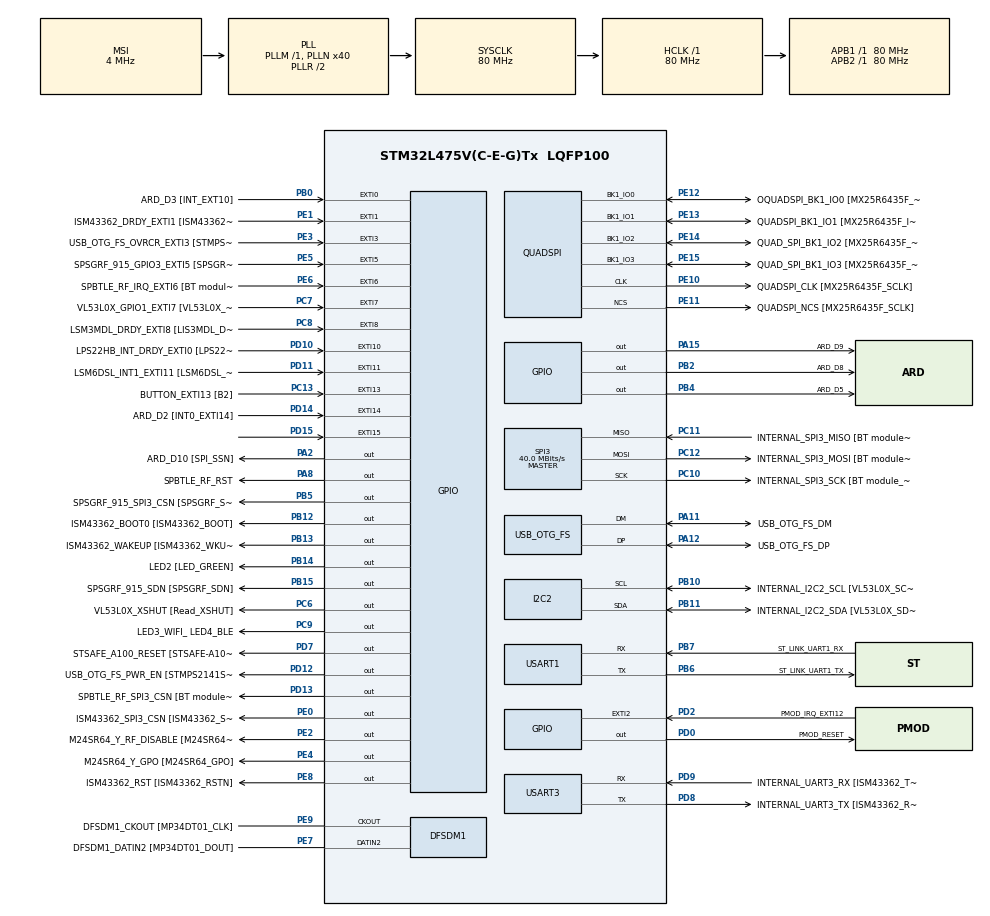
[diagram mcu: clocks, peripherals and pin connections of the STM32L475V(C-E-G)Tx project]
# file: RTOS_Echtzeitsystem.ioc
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I2C2.Timing=0x10D19CE4
Mcu.Family=STM32L4
Mcu.Name=STM32L475V(C-E-G)Tx
Mcu.Package=LQFP100
NVIC.EXTI15_10_IRQn=true\:6\:0\:true\:false\:true\:true\:true\:true
NVIC.I2C2_ER_IRQn=true\:6\:0\:true\:false\:true\:true\:true\:true
NVIC.I2C2_EV_IRQn=true\:6\:0\:true\:false\:true\:true\:true\:true
NVIC.PriorityGroup=NVIC_PRIORITYGROUP_4
NVIC.USART1_IRQn=true\:6\:0\:true\:false\:true\:true\:true\:true
PA0.GPIO_Label=ARD_D1 [UART4_TX]
PA0.Signal=UART4_TX
PA1.GPIO_Label=ARD_D0 [UART4_RX]
PA1.Signal=UART4_RX
PA10.GPIO_Label=USB_OTG_FS_ID
PA10.Signal=USB_OTG_FS_ID
PA11.GPIO_Label=USB_OTG_FS_DM
PA11.Mode=Device_Only
PA11.Signal=USB_OTG_FS_DM
PA12.GPIO_Label=USB_OTG_FS_DP
PA12.Mode=Device_Only
PA12.Signal=USB_OTG_FS_DP
PA13\ (JTMS-SWDIO).GPIO_Label=SYS_JTMS_SWDIO
PA13\ (JTMS-SWDIO).Mode=Serial_Wire
PA13\ (JTMS-SWDIO).Signal=SYS_JTMS-SWDIO
PA14\ (JTCK-SWCLK).GPIO_Label=SYS_JTCK_SWCLK
PA14\ (JTCK-SWCLK).Mode=Serial_Wire
PA14\ (JTCK-SWCLK).Signal=SYS_JTCK-SWCLK
PA15\ (JTDI).GPIO_Label=ARD_D9
PA15\ (JTDI).Signal=GPIO_Output
PA2.GPIO_Label=ARD_D10 [SPI_SSN]
PA2.Signal=GPIO_Output
PA3.GPIO_Label=ARD_D4
PA3.Signal=S_TIM2_CH4
PA4.GPIO_Label=ARD_D7
PA4.Signal=ADCx_IN9
PA5.GPIO_Label=ARD_D13 [SPI1_SCK]
PA5.Signal=SPI1_SCK
PA6.GPIO_Label=ARD_D12 [SPI1_MISO]
PA6.Signal=SPI1_MISO
PA7.GPIO_Label=ARD_D11 [SPI1_MOSI]
PA7.Signal=SPI1_MOSI
PA8.GPIO_Label=SPBTLE_RF_RST
PA8.Signal=GPIO_Output
PA9.GPIO_Label=USB_OTG_FS_VBUS [STMPS2141STR_OUT]
PA9.Signal=USB_OTG_FS_VBUS
PB0.GPIO_Label=ARD_D3 [INT_EXT10]
PB0.Signal=GPXTI0
PB1.GPIO_Label=ARD_D6 [ADC1_IN6]
PB1.Signal=ADCx_IN16
PB10.GPIO_Label=INTERNAL_I2C2_SCL [VL53L0X_SCL]
PB10.GPIO_Pu=GPIO_PULLUP
PB10.Mode=I2C
PB10.Signal=I2C2_SCL
PB11.GPIO_Label=INTERNAL_I2C2_SDA [VL53L0X_SDA]
PB11.GPIO_Pu=GPIO_PULLUP
PB11.Mode=I2C
PB11.Signal=I2C2_SDA
PB12.GPIO_Label=ISM43362_BOOT0 [ISM43362_BOOT]
PB12.Signal=GPIO_Output
PB13.GPIO_Label=ISM43362_WAKEUP [ISM43362_WKUP]
PB13.Signal=GPIO_Output
PB14.GPIO_Label=LED2 [LED_GREEN]
PB14.Signal=GPIO_Output
PB15.GPIO_Label=SPSGRF_915_SDN [SPSGRF_SDN]
PB15.Signal=GPIO_Output
PB2.GPIO_Label=ARD_D8
PB2.Signal=GPIO_Output
PB3\ (JTDO-TRACESWO).GPIO_Label=SYS_JTD0_SWO
PB3\ (JTDO-TRACESWO).Signal=SYS_JTDO-SWO
PB4\ (NJTRST).GPIO_Label=ARD_D5
PB4\ (NJTRST).Signal=GPIO_Output
PB5.GPIO_Label=SPSGRF_915_SPI3_CSN [SPSGRF_SPI_CS]
PB5.PinState=GPIO_PIN_SET
PB5.Signal=GPIO_Output
PB6.GPIO_Label=ST_LINK_UART1_TX
PB6.Mode=Asynchronous
PB6.Signal=USART1_TX
PB7.GPIO_Label=ST_LINK_UART1_RX
PB7.Mode=Asynchronous
PB7.Signal=USART1_RX
PB8.GPIO_Label=ARD_D15 [I2C1_SCL]
PB8.Signal=I2C1_SCL
PB9.GPIO_Label=ARD_D14 [I2C1_SDA]
PB9.Signal=I2C1_SDA
PC0.GPIO_Label=ARD_A5 [ADC]
PC0.Signal=ADCx_IN1
PC1.GPIO_Label=ARD_A4 [ADC]
PC1.Signal=ADCx_IN2
PC10.GPIO_Label=INTERNAL_SPI3_SCK [BT module_SPI_SCLK] [ISM43362_SCK]
PC10.Mode=Full_Duplex_Master
PC10.Signal=SPI3_SCK
PC11.GPIO_Label=INTERNAL_SPI3_MISO [BT module_SPI_MISO] [ISM43362_MISO]
PC11.Mode=Full_Duplex_Master
PC11.Signal=SPI3_MISO
PC12.GPIO_Label=INTERNAL_SPI3_MOSI [BT module_SPI_MOSI] [ISM43362_MOSI]
PC12.Mode=Full_Duplex_Master
PC12.Signal=SPI3_MOSI
PC13.GPIO_Label=BUTTON_EXTI13 [B2]
PC13.GPIO_ModeDefaultEXTI=GPIO_MODE_IT_FALLING
PC13.Signal=GPXTI13
PC14-OSC32_IN\ (PC14).Mode=LSE-External-Oscillator
PC14-OSC32_IN\ (PC14).Signal=RCC_OSC32_IN
PC15-OSC32_OUT\ (PC15).Mode=LSE-External-Oscillator
PC15-OSC32_OUT\ (PC15).Signal=RCC_OSC32_OUT
PC2.GPIO_Label=ARD_A3 [ADC]
PC2.Signal=ADCx_IN3
PC3.GPIO_Label=ARD_A2 [ADC]
PC3.Signal=ADCx_IN4
PC4.GPIO_Label=ARD_A1 [ADC]
PC4.Signal=ADCx_IN13
PC5.GPIO_Label=ARD_A0 [ADC]
PC5.Signal=ADCx_IN14
PC6.GPIO_Label=VL53L0X_XSHUT [Read_XSHUT]
PC6.Signal=GPIO_Output
PC7.GPIO_Label=VL53L0X_GPIO1_EXTI7 [VL53L0X_GPIO1]
PC7.Signal=GPXTI7
PC8.GPIO_Label=LSM3MDL_DRDY_EXTI8 [LIS3MDL_DRDY]
PC8.Signal=GPXTI8
PC9.GPIO_Label=LED3_WIFI_ LED4_BLE
PC9.Signal=GPIO_Output
PD0.GPIO_Label=PMOD_RESET
PD0.Signal=GPIO_Output
PD1.GPIO_Label=PMOD_SPI2_SCK
PD1.Signal=SPI2_SCK
PD10.GPIO_Label=LPS22HB_INT_DRDY_EXTI0 [LPS22HB_INT_DRDY] 
PD10.Signal=GPXTI10
PD11.GPIO_Label=LSM6DSL_INT1_EXTI11 [LSM6DSL_INT1]
PD11.Signal=GPXTI11
PD12.GPIO_Label=USB_OTG_FS_PWR_EN [STMPS2141STR_EN]
PD12.Signal=GPIO_Output
PD13.GPIO_Label=SPBTLE_RF_SPI3_CSN [BT module_SPI_CS]
PD13.PinState=GPIO_PIN_SET
PD13.Signal=GPIO_Output
PD14.GPIO_Label=ARD_D2 [INT0_EXTI14]
PD14.Signal=GPXTI14
PD15.Signal=GPXTI15
PD2.GPIO_Label=PMOD_IRQ_EXTI12
PD2.Signal=GPXTI2
PD3.GPIO_Label=PMOD_UART2_CTS
PD3.Signal=USART2_CTS
PD4.GPIO_Label=PMOD_UART2_RTS
PD4.Signal=USART2_RTS
PD5.GPIO_Label=PMOD_UART2_TX
PD5.Signal=USART2_TX
PD6.GPIO_Label=PMOD_UART2_RX
PD6.Signal=USART2_RX
PD7.GPIO_Label=STSAFE_A100_RESET [STSAFE-A100_RESET]
PD7.Signal=GPIO_Output
PD8.GPIO_Label=INTERNAL_UART3_TX [ISM43362_RX]
PD8.Mode=Asynchronous
PD8.Signal=USART3_TX
PD9.GPIO_Label=INTERNAL_UART3_RX [ISM43362_TX]
PD9.Mode=Asynchronous
PD9.Signal=USART3_RX
PE0.GPIO_Label=ISM43362_SPI3_CSN [ISM43362_SSN]
PE0.PinState=GPIO_PIN_SET
PE0.Signal=GPIO_Output
PE1.GPIO_Label=ISM43362_DRDY_EXTI1 [ISM43362_DATARDY]
PE1.Signal=GPXTI1
PE10.GPIO_Label=QUADSPI_CLK [MX25R6435F_SCLK]
PE10.Mode=Single Bank
PE10.Signal=QUADSPI_CLK
PE11.GPIO_Label=QUADSPI_NCS [MX25R6435F_SCLK]
PE11.Mode=Single Bank
PE11.Signal=QUADSPI_NCS
PE12.GPIO_Label=OQUADSPI_BK1_IO0 [MX25R6435F_IO0]
PE12.Mode=Single Bank
PE12.Signal=QUADSPI_BK1_IO0
PE13.GPIO_Label=QUADSPI_BK1_IO1 [MX25R6435F_IO1]
PE13.Mode=Single Bank
PE13.Signal=QUADSPI_BK1_IO1
PE14.GPIO_Label=QUAD_SPI_BK1_IO2 [MX25R6435F_IO2]
PE14.Mode=Single Bank
PE14.Signal=QUADSPI_BK1_IO2
PE15.GPIO_Label=QUAD_SPI_BK1_IO3 [MX25R6435F_IO3]
PE15.Mode=Single Bank
PE15.Signal=QUADSPI_BK1_IO3
PE2.GPIO_Label=M24SR64_Y_RF_DISABLE [M24SR64_RFDIS]
PE2.Signal=GPIO_Output
PE3.GPIO_Label=USB_OTG_FS_OVRCR_EXTI3 [STMPS2141STR_FAULT]
PE3.Signal=GPXTI3
PE4.GPIO_Label=M24SR64_Y_GPO [M24SR64_GPO]
PE4.Signal=GPIO_Output
PE5.GPIO_Label=SPSGRF_915_GPIO3_EXTI5 [SPSGRF_GPIO_3]
PE5.Signal=GPXTI5
PE6.GPIO_Label=SPBTLE_RF_IRQ_EXTI6 [BT module_SPI_IRQ]
PE6.Signal=GPXTI6
PE7.GPIO_Label=DFSDM1_DATIN2 [MP34DT01_DOUT]
PE7.Signal=S_DATAIN2DFSDM1
PE8.GPIO_Label=ISM43362_RST [ISM43362_RSTN]
PE8.Signal=GPIO_Output
PE9.GPIO_Label=DFSDM1_CKOUT [MP34DT01_CLK]
PE9.Signal=S_CKOUTDFSDM1
ProjectManager.HeapSize=0x200
ProjectManager.StackSize=0x400
ProjectManager.TargetToolchain=STM32CubeIDE
QUADSPI.ClockPrescaler=2
QUADSPI.FifoThreshold=4
QUADSPI.FlashSize=23
QUADSPI.SampleShifting=QSPI_SAMPLE_SHIFTING_HALFCYCLE
RCC.ADCFreq_Value=48000000
RCC.AHBFreq_Value=80000000
RCC.APB1Freq_Value=80000000
RCC.APB1TimFreq_Value=80000000
RCC.APB2Freq_Value=80000000
RCC.APB2TimFreq_Value=80000000
RCC.CortexFreq_Value=80000000
RCC.HCLKFreq_Value=80000000
RCC.HSE_VALUE=8000000
RCC.HSI_VALUE=16000000
RCC.MSI_VALUE=4000000
RCC.PLLN=40
RCC.PLLSAI1N=24
RCC.SYSCLKFreq_VALUE=80000000
RCC.SYSCLKSource=RCC_SYSCLKSOURCE_PLLCLK
RCC.USBFreq_Value=48000000
RCC.VCOOutputFreq_Value=160000000
SH.ADCx_IN1.0=ADC1_IN1
SH.ADCx_IN13.0=ADC1_IN13
SH.ADCx_IN14.0=ADC1_IN14
SH.ADCx_IN16.0=ADC1_IN16
SH.ADCx_IN2.0=ADC1_IN2
SH.ADCx_IN3.0=ADC1_IN3
SH.ADCx_IN4.0=ADC1_IN4
SH.ADCx_IN9.0=ADC1_IN9
SH.S_CKOUTDFSDM1.0=DFSDM1_CKOUT,CKOUT
SH.S_CKOUTDFSDM1.1=DFSDM1_CKOUT,PDM_SPI_Input_from_ch12_and_Internal_Clock
SH.S_DATAIN2DFSDM1.0=DFSDM1_DATIN2,PDM_SPI_Input_from_ch12_and_Internal_Clock
SH.S_TIM2_CH4.0=TIM2_CH4
SPI3.CalculateBaudRate=40.0 MBits/s
SPI3.Direction=SPI_DIRECTION_2LINES
SPI3.Mode=SPI_MODE_MASTER
SPI3.VirtualType=VM_MASTER
USART1.VirtualMode-Asynchronous=VM_ASYNC
USART3.VirtualMode-Asynchronous=VM_ASYNC
USB_OTG_FS.VirtualMode=Device_Only
board=B-L475E-IOT01A1

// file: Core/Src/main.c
/* USER CODE BEGIN Header */
/**
  ******************************************************************************
  * @file           : main.c
  * @brief          : Main program body
  ******************************************************************************
  * @attention
  *
  * Copyright (c) 2026 STMicroelectronics.
  * All rights reserved.
  *
  * This software is licensed under terms that can be found in the LICENSE file
  * in the root directory of this software component.
  * If no LICENSE file comes with this software, it is provided AS-IS.
  *
  ******************************************************************************
  */
/* USER CODE END Header */
#include "main.h"

/* USER CODE BEGIN Includes */
#include "stm32l4xx.h"
#include "os_kernel.h"
#include "tcb.h"
#include "Mutex_and_Semaphoren.h"
#include"MessageQueue.h"
#include "os_sync.h"
#include "SEGGER_SYSVIEW.h"
#include "sensor.h"
#include <stdio.h>
#include <string.h>
/* USER CODE END Includes */

/* USER CODE BEGIN PD */
	#define MAX_TASKs 3

	#define HTS221_ADDR         (0x5F << 1) /**< 7-Bit-I2C-Adresse um 1 verschoben: LSB=0 (Schreiben), LSB=1 (Lesen). */
	#define HTS221_WHO_AM_I     0x0F        /**< Sensor-Identifikationsregister (Erwartete Antwort: 0xBC). */
	#define HTS221_CTRL_REG1    0x20        /**< Steuerregister 1: Weckt den Sensor auf, wenn 0x81 geschrieben wird. */
	#define HTS221_STATUS_REG   0x27        /**< Statusregister: Bit 1 (H_DA) = Feuchtedaten bereit, Bit 0 (T_DA) = Tempdaten bereit. */

	#define SENSOR_QUEUE_CAPACITY   5

	#define SYSVIEW_MARKER_I2C_WAIT      10
	#define SYSVIEW_MARKER_UART_TX       11
/* USER CODE END PD */

DFSDM_Channel_HandleTypeDef hdfsdm1_channel1;

I2C_HandleTypeDef hi2c2;

QSPI_HandleTypeDef hqspi;

SPI_HandleTypeDef hspi3;

UART_HandleTypeDef huart1;
UART_HandleTypeDef huart3;

PCD_HandleTypeDef hpcd_USB_OTG_FS;

/* USER CODE BEGIN PV */
OS_Semaphore_t SensorSemaphore;
OS_MessageQueue_t SensorQueue;
uint32_t sensorQueueBuffer[SENSOR_QUEUE_CAPACITY];

uint8_t i2c_tx_buf[2];
uint8_t i2c_rx_buf[4];
volatile uint8_t i2c_transfer_complete = 0;
/* USER CODE END PV */

void SystemClock_Config(void);
 void MX_GPIO_Init(void);
 void MX_DFSDM1_Init(void);
 void MX_I2C2_Init(void);
 void MX_QUADSPI_Init(void);
 void MX_SPI3_Init(void);
 void MX_USART1_UART_Init(void);
 void MX_USART3_UART_Init(void);
//static void MX_USB_OTG_FS_PCD_Init(void);

/* USER CODE BEGIN 0 */

// --- TASK 1: UART-Task ---
 /**
  * @brief RTOS-Task zur Formatierung und seriellen Ausgabe der Sensordaten.
  * @details Der Task wartet blockierend an der `SensorQueue` auf eingehende Nachrichten vom `Task_Sensor`.
  *          Sobald Daten eintreffen, wird Folgendes ausgeführt:
  *          1. Eine Status-LED (GPIOB Pin 14) wird eingeschaltet.
  *          2. Der Inhalt der Nachricht (`SensorMsg_t`) wird evaluiert.
  *          3. Bei Status `Okay` werden Temperatur und Feuchte formatiert; andernfalls wird eine Fehlermeldung generiert.
  *          4. Der String wird über UART1 (`HAL_UART_Transmit`) ausgegeben.
  *          5. Die Status-LED wird ausgeschaltet und der Task blockiert erneut an der Queue.
  *
  * @note Nutzt SystemView Marker (`SYSVIEW_MARKER_UART_TX`), um die Sendezeit der seriellen Schnittstelle aufzuzeichnen.
  *
  * @return void
  */
void Task_UART(){
	SensorMsg_t *pReceivedMsg;   // Zeiger auf die empfangene Nachricht
	char tx_buffer[128];

	while(1){
		OS_MsgQ_ReadBlocking(&SensorQueue,(uint32_t*)&pReceivedMsg);

		// Task wird aktiv, Start-Event
		SEGGER_SYSVIEW_OnTaskStartExec(g_pCurrentTCB->u8TaskId);
		// Status auswerten und String formatieren
		HAL_GPIO_WritePin(GPIOB, GPIO_PIN_14, GPIO_PIN_SET);
		        	if(pReceivedMsg->status == Okay) {

		        		// Erfolgsfall: Temperatur und Feuchtigkeit formatieren
		        	            snprintf(tx_buffer, sizeof(tx_buffer),
		        	                     "Temp: %d C, Feuchte: %d %%\r\n",
		        	                     (int)pReceivedMsg->temperature,
		        	                     (int)pReceivedMsg->humidity);
		        } else {
		        	// Fehlerfall: Fehlermeldung mit Code formatieren
		        	            snprintf(tx_buffer, sizeof(tx_buffer),
		        	                     "Fehler: HTS221 Kommunikation fehlgeschlagen (Code %lu)\r\n",
		        	                     pReceivedMsg->hardwareError);
		        }

		        	// SystemView Marker: Beginn der UART-Übertragung
		        	SEGGER_SYSVIEW_MarkStart(SYSVIEW_MARKER_UART_TX);
		        	// String über UART senden
		        	// HAL_MAX_DELAY sorgt dafür, dass er wartet, bis alles gesendet ist
		        	HAL_UART_Transmit(&huart1,(uint8_t*)tx_buffer,strlen(tx_buffer),HAL_MAX_DELAY);
		        	// SystemView Marker: Ende der UART-Übertragung
		        	SEGGER_SYSVIEW_MarkStop(SYSVIEW_MARKER_UART_TX);

		        	// LED wieder aus
		        	HAL_GPIO_WritePin(GPIOB, GPIO_PIN_14, GPIO_PIN_RESET);

		        	// Task-Ausführung für diesen Zyklus beendet
		        	SEGGER_SYSVIEW_OnTaskStopReady(g_pCurrentTCB->u8TaskId, TaskState_Blocked);
		        	//OS_Delay(500);

		//HAL_GPIO_TogglePin(GPIOB,GPIO_PIN_14);
		//OS_Delay(200); // Non-Blocking

		//for(volatile uint32_t i = 0; i < 500000; i++) {}   // Es dient zur Wartezeit ( Blocking)

}
}

// HTS221 KALIBRIERUNGS-DATEN & FUNKTION

/**
 * @struct HTS221_Calib_t
 * @brief Struktur zur Speicherung der werkseitigen HTS221-Kalibrierkoeffizienten.
 * @details Die Koeffizienten werden aus dem Nicht-Flüchtigen Speicher (NVM) des Sensors
 *          ausgelesen und dienen der linearen Interpolation der Messwerte.
 */
typedef struct {
    int16_t T0_out;       /**< Rohwert der Temperatur-Kalibrieradresse T0. */
    int16_t T1_out;       /**< Rohwert der Temperatur-Kalibrieradresse T1. */
    int16_t T0_degC_x8;   /**< Kalibriertemperatur T0 in °C (skaliert mit Faktor 8). */
    int16_t T1_degC_x8;   /**< Kalibriertemperatur T1 in °C (skaliert mit Faktor 8). */
    int16_t H0_out;       /**< Rohwert der Luftfeuchte-Kalibrieradresse H0. */
    int16_t H1_out;       /**< Rohwert der Luftfeuchte-Kalibrieradresse H1. */
    uint8_t H0_rH_x2;     /**< Kalibrierfeuchte H0 in % rH (skaliert mit Faktor 2). */
    uint8_t H1_rH_x2;     /**< Kalibrierfeuchte H1 in % rH (skaliert mit Faktor 2). */
} HTS221_Calib_t;

static HTS221_Calib_t calib;

/**
 * @brief Liest die werkseitigen Kalibrierdaten aus dem HTS221-Sensor aus.
 * @details Greift per I2C im Auto-Increment-Modus auf die Register 0x30 bis 0x3F zu
 *          und konvertiert die Byte-Arrays in die entsprechenden 16-Bit-Kalibrierwerte
 *          für Temperatur und Luftfeuchtigkeit.
 *
 * @note Nutzt blockierenden I2C-Zugriff (`HAL_MAX_DELAY`), da die Kalibrierung
 *       eine einmalige Initialisierungsoperation darstellt.
 *
 * @return void
 */
void HTS221_Read_Calibration(void) {
    uint8_t calib_data[16];

    // Kalibrierdaten liegen in Register 0x30 bis 0x3F (0x30 | 0x80 für Auto-Increment)
    HAL_I2C_Mem_Read(&hi2c2, HTS221_ADDR, (0x30 | 0x80), I2C_MEMADD_SIZE_8BIT, calib_data, 16, HAL_MAX_DELAY);

    // Luftfeuchte-Kalibrierung
    calib.H0_rH_x2 = calib_data[0];
    calib.H1_rH_x2 = calib_data[1];
    calib.H0_out = (int16_t)(calib_data[6] | (calib_data[7] << 8));
    calib.H1_out = (int16_t)(calib_data[10] | (calib_data[11] << 8));

    // Temperatur-Kalibrierung
    uint16_t T0_degC = (uint16_t)(calib_data[2] | ((calib_data[5] & 0x03) << 8));
    uint16_t T1_degC = (uint16_t)(calib_data[3] | ((calib_data[5] & 0x0C) << 6));
    calib.T0_degC_x8 = T0_degC;
    calib.T1_degC_x8 = T1_degC;

    calib.T0_out = (int16_t)(calib_data[12] | (calib_data[13] << 8));
    calib.T1_out = (int16_t)(calib_data[14] | (calib_data[15] << 8));
}

// --- TASK 2: Task_Sensor --
/**
 * @brief RTOS-Task zur zyklischen Datenerfassung vom HTS221-Sensor via I2C.
 * @details Der Task führt folgende Schritte in einer Endlosschleife aus:
 *          1. Aktivierung des Sensors und Auslesen der Kalibrierdaten.
 *          2. Triggern einer One-Shot-Messung per I2C Interrupt (`HAL_I2C_Mem_Write_IT`).
 *          3. Blockieren an einer Semaphor (`SensorSemaphore`), bis der I2C-Transfer abgeschlossen ist.
 *          4. Warten auf die physikalische Wandlung (100 ms) via `OS_Delay`.
 *          5. Asynchrones Auslesen der Rohdaten via I2C Interrupt (`HAL_I2C_Mem_Read_IT`) und erneutes Blockieren.
 *          6. Berechnung von echter Temperatur (°C) und feuchte (% rH) mittels Interpolation.
 *          7. Übertragung der formatierten `SensorMsg_t` an die `SensorQueue`.
 *          8. Versetzen des Tasks in den Schlafzustand für 2000 ms.
 *
 * @note Nutzt Segger SystemView Marker (`SYSVIEW_MARKER_I2C_WAIT`) zur Laufzeitanalyse der I2C-Transaktionen.
 *
 * @return void
 */
void Task_Sensor(){
	static SensorMsg_t msg;
	HAL_StatusTypeDef hal_status;

	// Sensorinitialisierung
				// CTRL_REG1 (0x20): Setze PD (Power Down) auf 1 (Active) und ODR auf 1 (1Hz Messrate)
				uint8_t init_data = 0x81;
	while(1){

		// Task startet Ausführung
		SEGGER_SYSVIEW_OnTaskStartExec(g_pCurrentTCB->u8TaskId);

		HAL_I2C_Mem_Write(&hi2c2, HTS221_ADDR, HTS221_CTRL_REG1, I2C_MEMADD_SIZE_8BIT, &init_data, 1, HAL_MAX_DELAY);
		HTS221_Read_Calibration();

		msg.temperature = 0;
		msg.humidity = 0;
		msg.status = Okay;
		// das ONE_SHOT Bit (Bit 0) des CTRL_REG2 (0x21) setzen, um die Messung zu starten
		uint8_t start_cmd = 0x01;

		// SystemView Marker: I2C-Messung gestartet
		SEGGER_SYSVIEW_MarkStart(SYSVIEW_MARKER_I2C_WAIT);
		hal_status = HAL_I2C_Mem_Write_IT(&hi2c2, HTS221_ADDR, 0x21, I2C_MEMADD_SIZE_8BIT, &start_cmd, 1);

		if(hal_status != HAL_OK) msg.status = I2C_Error;
		else {
			OS_Sem_AcquireBlocking(&SensorSemaphore);

			// Dem Sensor 100ms Zeit geben, um die Messung durchzuführen
			OS_Delay(100);

			uint8_t raw_data[6];
			hal_status = HAL_I2C_Mem_Read_IT(&hi2c2, HTS221_ADDR, (0x28 | 0x80), I2C_MEMADD_SIZE_8BIT, raw_data, 6);  // (0x28 | 0x80) : es soll ab register 28 gelesen werde und
																											// das 80, soll erlauben, mehrere Byte zu lesen.
			if(hal_status != HAL_OK) {msg.status = Sensor_Timeout;  // Fehler beim Lesen der Rohdaten

			SEGGER_SYSVIEW_MarkStop(SYSVIEW_MARKER_I2C_WAIT);
			}
			else {
				// Erneut blockieren, bis die Daten per I2C-Interrupt komplett im RAM (raw_data) gelandet sind
				OS_Sem_AcquireBlocking(&SensorSemaphore);

				// Marker stoppen: I2C-Daten vollständig erhalten
				SEGGER_SYSVIEW_MarkStop(SYSVIEW_MARKER_I2C_WAIT);
				// Rohdaten zusammensetzen
				int16_t H_OUT = (int16_t)(raw_data[0] | (raw_data[1] << 8));
				int16_t T_OUT = (int16_t)(raw_data[2] | (raw_data[3] << 8));

				// ECHTE berechnete Temperatur in °C
				float tmp_deg = (float)(calib.T1_degC_x8 - calib.T0_degC_x8) / 8.0f;
				msg.temperature = ((float)(T_OUT - calib.T0_out) * tmp_deg) / (float)(calib.T1_out - calib.T0_out) + ((float)calib.T0_degC_x8 / 8.0f);

				// ECHTE berechnete Luftfeuchtigkeit in %
				float tmp_hum = (float)(calib.H1_rH_x2 - calib.H0_rH_x2) / 2.0f;
				msg.humidity = ((float)(H_OUT - calib.H0_out) * tmp_hum) / (float)(calib.H1_out - calib.H0_out) + ((float)calib.H0_rH_x2 / 2.0f);
			}
		}

		if(msg.status != Okay) {

			msg.status = I2C_Error;
			    // Exakter HAL-Hardware-Fehlercode für die spätere Diagnose
			    msg.hardwareError = HAL_I2C_GetError(&hi2c2);   // Damit kann ich das genaue Problem wissen
		}

		OS_MsgQ_SendBlocking(&SensorQueue,(uint32_t)&msg);   // Das Paket an den MessageQueue für den UART schicken

		// Task meldet Ende der Verarbeitung, bevor er schlafen geht
		SEGGER_SYSVIEW_OnTaskStopReady((uint32_t)g_pCurrentTCB->u8TaskId, TaskState_Blocked);
		OS_Delay(2000);
	}

}

// --- IDLE Task ---
void Task_Idle(void) {
    while(1) {

    	SEGGER_SYSVIEW_OnIdle(); // melde SystemView, wie lange der CPU wirklich still bleibt
    	//__WFI(); // Wait for Interrupt
    }
}

/* USER CODE END 0 */

int main(void)
{

  /* MCU Configuration--------------------------------------------------------*/

  /* Reset of all peripherals, Initializes the Flash interface and the Systick. */
  HAL_Init();

  /* Configure the system clock */
  SystemClock_Config();

  /* Initialize all configured peripherals */
  MX_GPIO_Init();
  MX_DFSDM1_Init();
  MX_I2C2_Init();
  MX_QUADSPI_Init();
  MX_SPI3_Init();
  MX_USART1_UART_Init();
  MX_USART3_UART_Init();
  //MX_USB_OTG_FS_PCD_Init();
  /* USER CODE BEGIN 2 */
  //Tasks beim Betriebssystem anmelden, Priorität und TaskId angeben
  SEGGER_SYSVIEW_Conf();
  	  OS_TaskCreate(Task_UART,0, 1);
  	  OS_TaskCreate(Task_Sensor, 0, 0);
      OS_TaskCreate(Task_Idle, 255, MAX_TASKs-1);
      OS_MsgQ_Init(&SensorQueue,sensorQueueBuffer,SENSOR_QUEUE_CAPACITY);
      OS_Semaphore_Init(&SensorSemaphore,0,1);

      // Kernel starten
        OS_KernelStart();

  /* USER CODE END 2 */

  /* Infinite loop */
  while (1)
  {

  }
}

void SystemClock_Config(void)
{
  RCC_OscInitTypeDef RCC_OscInitStruct = {0};
  RCC_ClkInitTypeDef RCC_ClkInitStruct = {0};

  /** Configure the main internal regulator output voltage
  */
  if (HAL_PWREx_ControlVoltageScaling(PWR_REGULATOR_VOLTAGE_SCALE1) != HAL_OK)
  {
    Error_Handler();
  }

  /** Configure LSE Drive Capability
  */
  HAL_PWR_EnableBkUpAccess();
  __HAL_RCC_LSEDRIVE_CONFIG(RCC_LSEDRIVE_LOW);

  /** Initializes the RCC Oscillators according to the specified parameters
  * in the RCC_OscInitTypeDef structure.
  */
  RCC_OscInitStruct.OscillatorType = RCC_OSCILLATORTYPE_LSE|RCC_OSCILLATORTYPE_MSI;
  RCC_OscInitStruct.LSEState = RCC_LSE_ON;
  RCC_OscInitStruct.MSIState = RCC_MSI_ON;
  RCC_OscInitStruct.MSICalibrationValue = 0;
  RCC_OscInitStruct.MSIClockRange = RCC_MSIRANGE_6;
  RCC_OscInitStruct.PLL.PLLState = RCC_PLL_ON;
  RCC_OscInitStruct.PLL.PLLSource = RCC_PLLSOURCE_MSI;
  RCC_OscInitStruct.PLL.PLLM = 1;
  RCC_OscInitStruct.PLL.PLLN = 40;
  RCC_OscInitStruct.PLL.PLLP = RCC_PLLP_DIV7;
  RCC_OscInitStruct.PLL.PLLQ = RCC_PLLQ_DIV2;
  RCC_OscInitStruct.PLL.PLLR = RCC_PLLR_DIV2;
  if (HAL_RCC_OscConfig(&RCC_OscInitStruct) != HAL_OK)
  {
    Error_Handler();
  }

  /** Initializes the CPU, AHB and APB buses clocks
  */
  RCC_ClkInitStruct.ClockType = RCC_CLOCKTYPE_HCLK|RCC_CLOCKTYPE_SYSCLK
                              |RCC_CLOCKTYPE_PCLK1|RCC_CLOCKTYPE_PCLK2;
  RCC_ClkInitStruct.SYSCLKSource = RCC_SYSCLKSOURCE_PLLCLK;
  RCC_ClkInitStruct.AHBCLKDivider = RCC_SYSCLK_DIV1;
  RCC_ClkInitStruct.APB1CLKDivider = RCC_HCLK_DIV1;
  RCC_ClkInitStruct.APB2CLKDivider = RCC_HCLK_DIV1;

  if (HAL_RCC_ClockConfig(&RCC_ClkInitStruct, FLASH_LATENCY_4) != HAL_OK)
  {
    Error_Handler();
  }

  /** Enable MSI Auto calibration
  */
  HAL_RCCEx_EnableMSIPLLMode();
}

void MX_DFSDM1_Init(void)
{

  hdfsdm1_channel1.Instance = DFSDM1_Channel1;
  hdfsdm1_channel1.Init.OutputClock.Activation = ENABLE;
  hdfsdm1_channel1.Init.OutputClock.Selection = DFSDM_CHANNEL_OUTPUT_CLOCK_SYSTEM;
  hdfsdm1_channel1.Init.OutputClock.Divider = 2;
  hdfsdm1_channel1.Init.Input.Multiplexer = DFSDM_CHANNEL_EXTERNAL_INPUTS;
  hdfsdm1_channel1.Init.Input.DataPacking = DFSDM_CHANNEL_STANDARD_MODE;
  hdfsdm1_channel1.Init.Input.Pins = DFSDM_CHANNEL_FOLLOWING_CHANNEL_PINS;
  hdfsdm1_channel1.Init.SerialInterface.Type = DFSDM_CHANNEL_SPI_RISING;
  hdfsdm1_channel1.Init.SerialInterface.SpiClock = DFSDM_CHANNEL_SPI_CLOCK_INTERNAL;
  hdfsdm1_channel1.Init.Awd.FilterOrder = DFSDM_CHANNEL_FASTSINC_ORDER;
  hdfsdm1_channel1.Init.Awd.Oversampling = 1;
  hdfsdm1_channel1.Init.Offset = 0;
  hdfsdm1_channel1.Init.RightBitShift = 0x00;
  if (HAL_DFSDM_ChannelInit(&hdfsdm1_channel1) != HAL_OK)
  {
    Error_Handler();
  }

}

void MX_I2C2_Init(void)
{

  hi2c2.Instance = I2C2;
  hi2c2.Init.Timing = 0x10D19CE4;
  hi2c2.Init.OwnAddress1 = 0;
  hi2c2.Init.AddressingMode = I2C_ADDRESSINGMODE_7BIT;
  hi2c2.Init.DualAddressMode = I2C_DUALADDRESS_DISABLE;
  hi2c2.Init.OwnAddress2 = 0;
  hi2c2.Init.OwnAddress2Masks = I2C_OA2_NOMASK;
  hi2c2.Init.GeneralCallMode = I2C_GENERALCALL_DISABLE;
  hi2c2.Init.NoStretchMode = I2C_NOSTRETCH_DISABLE;
  if (HAL_I2C_Init(&hi2c2) != HAL_OK)
  {
    Error_Handler();
  }

  /** Configure Analogue filter
  */
  if (HAL_I2CEx_ConfigAnalogFilter(&hi2c2, I2C_ANALOGFILTER_ENABLE) != HAL_OK)
  {
    Error_Handler();
  }

  /** Configure Digital filter
  */
  if (HAL_I2CEx_ConfigDigitalFilter(&hi2c2, 0) != HAL_OK)
  {
    Error_Handler();
  }

}

void MX_QUADSPI_Init(void)
{

  /* QUADSPI parameter configuration*/
  hqspi.Instance = QUADSPI;
  hqspi.Init.ClockPrescaler = 2;
  hqspi.Init.FifoThreshold = 4;
  hqspi.Init.SampleShifting = QSPI_SAMPLE_SHIFTING_HALFCYCLE;
  hqspi.Init.FlashSize = 23;
  hqspi.Init.ChipSelectHighTime = QSPI_CS_HIGH_TIME_1_CYCLE;
  hqspi.Init.ClockMode = QSPI_CLOCK_MODE_0;
  if (HAL_QSPI_Init(&hqspi) != HAL_OK)
  {
    Error_Handler();
  }

}

void MX_SPI3_Init(void)
{

  /* SPI3 parameter configuration*/
  hspi3.Instance = SPI3;
  hspi3.Init.Mode = SPI_MODE_MASTER;
  hspi3.Init.Direction = SPI_DIRECTION_2LINES;
  hspi3.Init.DataSize = SPI_DATASIZE_4BIT;
  hspi3.Init.CLKPolarity = SPI_POLARITY_LOW;
  hspi3.Init.CLKPhase = SPI_PHASE_1EDGE;
  hspi3.Init.NSS = SPI_NSS_SOFT;
  hspi3.Init.BaudRatePrescaler = SPI_BAUDRATEPRESCALER_2;
  hspi3.Init.FirstBit = SPI_FIRSTBIT_MSB;
  hspi3.Init.TIMode = SPI_TIMODE_DISABLE;
  hspi3.Init.CRCCalculation = SPI_CRCCALCULATION_DISABLE;
  hspi3.Init.CRCPolynomial = 7;
  hspi3.Init.CRCLength = SPI_CRC_LENGTH_DATASIZE;
  hspi3.Init.NSSPMode = SPI_NSS_PULSE_ENABLE;
  if (HAL_SPI_Init(&hspi3) != HAL_OK)
  {
    Error_Handler();
  }

}

void MX_USART1_UART_Init(void)
{

  huart1.Instance = USART1;
  huart1.Init.BaudRate = 115200;
  huart1.Init.WordLength = UART_WORDLENGTH_8B;
  huart1.Init.StopBits = UART_STOPBITS_1;
  huart1.Init.Parity = UART_PARITY_NONE;
  huart1.Init.Mode = UART_MODE_TX_RX;
  huart1.Init.HwFlowCtl = UART_HWCONTROL_NONE;
  huart1.Init.OverSampling = UART_OVERSAMPLING_16;
  huart1.Init.OneBitSampling = UART_ONE_BIT_SAMPLE_DISABLE;
  huart1.AdvancedInit.AdvFeatureInit = UART_ADVFEATURE_NO_INIT;
  if (HAL_UART_Init(&huart1) != HAL_OK)
  {
    Error_Handler();
  }

}

 void MX_USART3_UART_Init(void)
{

  huart3.Instance = USART3;
  huart3.Init.BaudRate = 115200;
  huart3.Init.WordLength = UART_WORDLENGTH_8B;
  huart3.Init.StopBits = UART_STOPBITS_1;
  huart3.Init.Parity = UART_PARITY_NONE;
  huart3.Init.Mode = UART_MODE_TX_RX;
  huart3.Init.HwFlowCtl = UART_HWCONTROL_NONE;
  huart3.Init.OverSampling = UART_OVERSAMPLING_16;
  huart3.Init.OneBitSampling = UART_ONE_BIT_SAMPLE_DISABLE;
  huart3.AdvancedInit.AdvFeatureInit = UART_ADVFEATURE_NO_INIT;
  if (HAL_UART_Init(&huart3) != HAL_OK)
  {
    Error_Handler();
  }

}

//static void MX_USB_OTG_FS_PCD_Init(void)
//{
//
//  /* USER CODE BEGIN USB_OTG_FS_Init 0 */
////
//  /* USER CODE END USB_OTG_FS_Init 0 */
//
//  /* USER CODE BEGIN USB_OTG_FS_Init 1 */
////
//  /* USER CODE END USB_OTG_FS_Init 1 */
//  hpcd_USB_OTG_FS.Instance = USB_OTG_FS;
//  hpcd_USB_OTG_FS.Init.dev_endpoints = 6;
//  hpcd_USB_OTG_FS.Init.speed = PCD_SPEED_FULL;
//  hpcd_USB_OTG_FS.Init.phy_itface = PCD_PHY_EMBEDDED;
//  hpcd_USB_OTG_FS.Init.Sof_enable = DISABLE;
//  hpcd_USB_OTG_FS.Init.low_power_enable = DISABLE;
//  hpcd_USB_OTG_FS.Init.lpm_enable = DISABLE;
//  hpcd_USB_OTG_FS.Init.battery_charging_enable = DISABLE;
//  hpcd_USB_OTG_FS.Init.use_dedicated_ep1 = DISABLE;
//  hpcd_USB_OTG_FS.Init.vbus_sensing_enable = DISABLE;
//  if (HAL_PCD_Init(&hpcd_USB_OTG_FS) != HAL_OK)
//  {
//    Error_Handler();
//  }
//  /* USER CODE BEGIN USB_OTG_FS_Init 2 */
////
//  /* USER CODE END USB_OTG_FS_Init 2 */
//
//}

void MX_GPIO_Init(void)
{
  GPIO_InitTypeDef GPIO_InitStruct = {0};

  /* GPIO Ports Clock Enable */
  __HAL_RCC_GPIOE_CLK_ENABLE();
  __HAL_RCC_GPIOC_CLK_ENABLE();
  __HAL_RCC_GPIOA_CLK_ENABLE();
  __HAL_RCC_GPIOB_CLK_ENABLE();
  __HAL_RCC_GPIOD_CLK_ENABLE();

  /*Configure GPIO pin Output Level */
  HAL_GPIO_WritePin(GPIOE, M24SR64_Y_RF_DISABLE_Pin|M24SR64_Y_GPO_Pin|ISM43362_RST_Pin, GPIO_PIN_RESET);

  /*Configure GPIO pin Output Level */
  HAL_GPIO_WritePin(GPIOA, ARD_D10_Pin|SPBTLE_RF_RST_Pin|ARD_D9_Pin, GPIO_PIN_RESET);

  /*Configure GPIO pin Output Level */
  HAL_GPIO_WritePin(GPIOB, ARD_D8_Pin|ISM43362_BOOT0_Pin|ISM43362_WAKEUP_Pin|LED2_Pin
                          |SPSGRF_915_SDN_Pin|ARD_D5_Pin, GPIO_PIN_RESET);

  /*Configure GPIO pin Output Level */
  HAL_GPIO_WritePin(GPIOD, USB_OTG_FS_PWR_EN_Pin|PMOD_RESET_Pin|STSAFE_A100_RESET_Pin, GPIO_PIN_RESET);

  /*Configure GPIO pin Output Level */
  HAL_GPIO_WritePin(SPBTLE_RF_SPI3_CSN_GPIO_Port, SPBTLE_RF_SPI3_CSN_Pin, GPIO_PIN_SET);

  /*Configure GPIO pin Output Level */
  HAL_GPIO_WritePin(GPIOC, VL53L0X_XSHUT_Pin|LED3_WIFI__LED4_BLE_Pin, GPIO_PIN_RESET);

  /*Configure GPIO pin Output Level */
  HAL_GPIO_WritePin(SPSGRF_915_SPI3_CSN_GPIO_Port, SPSGRF_915_SPI3_CSN_Pin, GPIO_PIN_SET);

  /*Configure GPIO pin Output Level */
  HAL_GPIO_WritePin(ISM43362_SPI3_CSN_GPIO_Port, ISM43362_SPI3_CSN_Pin, GPIO_PIN_SET);

  /*Configure GPIO pins : M24SR64_Y_RF_DISABLE_Pin M24SR64_Y_GPO_Pin ISM43362_RST_Pin ISM43362_SPI3_CSN_Pin */
  GPIO_InitStruct.Pin = M24SR64_Y_RF_DISABLE_Pin|M24SR64_Y_GPO_Pin|ISM43362_RST_Pin|ISM43362_SPI3_CSN_Pin;
  GPIO_InitStruct.Mode = GPIO_MODE_OUTPUT_PP;
  GPIO_InitStruct.Pull = GPIO_NOPULL;
  GPIO_InitStruct.Speed = GPIO_SPEED_FREQ_LOW;
  HAL_GPIO_Init(GPIOE, &GPIO_InitStruct);

  /*Configure GPIO pins : USB_OTG_FS_OVRCR_EXTI3_Pin SPSGRF_915_GPIO3_EXTI5_Pin SPBTLE_RF_IRQ_EXTI6_Pin ISM43362_DRDY_EXTI1_Pin */
  GPIO_InitStruct.Pin = USB_OTG_FS_OVRCR_EXTI3_Pin|SPSGRF_915_GPIO3_EXTI5_Pin|SPBTLE_RF_IRQ_EXTI6_Pin|ISM43362_DRDY_EXTI1_Pin;
  GPIO_InitStruct.Mode = GPIO_MODE_IT_RISING;
  GPIO_InitStruct.Pull = GPIO_NOPULL;
  HAL_GPIO_Init(GPIOE, &GPIO_InitStruct);

  /*Configure GPIO pin : BUTTON_EXTI13_Pin */
  GPIO_InitStruct.Pin = BUTTON_EXTI13_Pin;
  GPIO_InitStruct.Mode = GPIO_MODE_IT_FALLING;
  GPIO_InitStruct.Pull = GPIO_NOPULL;
  HAL_GPIO_Init(BUTTON_EXTI13_GPIO_Port, &GPIO_InitStruct);

  /*Configure GPIO pins : ARD_A5_Pin ARD_A4_Pin ARD_A3_Pin ARD_A2_Pin
                           ARD_A1_Pin ARD_A0_Pin */
  GPIO_InitStruct.Pin = ARD_A5_Pin|ARD_A4_Pin|ARD_A3_Pin|ARD_A2_Pin
                          |ARD_A1_Pin|ARD_A0_Pin;
  GPIO_InitStruct.Mode = GPIO_MODE_ANALOG_ADC_CONTROL;
  GPIO_InitStruct.Pull = GPIO_NOPULL;
  HAL_GPIO_Init(GPIOC, &GPIO_InitStruct);

  /*Configure GPIO pins : ARD_D1_Pin ARD_D0_Pin */
  GPIO_InitStruct.Pin = ARD_D1_Pin|ARD_D0_Pin;
  GPIO_InitStruct.Mode = GPIO_MODE_AF_PP;
  GPIO_InitStruct.Pull = GPIO_NOPULL;
  GPIO_InitStruct.Speed = GPIO_SPEED_FREQ_VERY_HIGH;
  GPIO_InitStruct.Alternate = GPIO_AF8_UART4;
  HAL_GPIO_Init(GPIOA, &GPIO_InitStruct);

  /*Configure GPIO pins : ARD_D10_Pin SPBTLE_RF_RST_Pin ARD_D9_Pin */
  GPIO_InitStruct.Pin = ARD_D10_Pin|SPBTLE_RF_RST_Pin|ARD_D9_Pin;
  GPIO_InitStruct.Mode = GPIO_MODE_OUTPUT_PP;
  GPIO_InitStruct.Pull = GPIO_NOPULL;
  GPIO_InitStruct.Speed = GPIO_SPEED_FREQ_LOW;
  HAL_GPIO_Init(GPIOA, &GPIO_InitStruct);

  /*Configure GPIO pin : ARD_D4_Pin */
  GPIO_InitStruct.Pin = ARD_D4_Pin;
  GPIO_InitStruct.Mode = GPIO_MODE_AF_PP;
  GPIO_InitStruct.Pull = GPIO_NOPULL;
  GPIO_InitStruct.Speed = GPIO_SPEED_FREQ_LOW;
  GPIO_InitStruct.Alternate = GPIO_AF1_TIM2;
  HAL_GPIO_Init(ARD_D4_GPIO_Port, &GPIO_InitStruct);

  /*Configure GPIO pin : ARD_D7_Pin */
  GPIO_InitStruct.Pin = ARD_D7_Pin;
  GPIO_InitStruct.Mode = GPIO_MODE_ANALOG_ADC_CONTROL;
  GPIO_InitStruct.Pull = GPIO_NOPULL;
  HAL_GPIO_Init(ARD_D7_GPIO_Port, &GPIO_InitStruct);

  /*Configure GPIO pins : ARD_D13_Pin ARD_D12_Pin ARD_D11_Pin */
  GPIO_InitStruct.Pin = ARD_D13_Pin|ARD_D12_Pin|ARD_D11_Pin;
  GPIO_InitStruct.Mode = GPIO_MODE_AF_PP;
  GPIO_InitStruct.Pull = GPIO_NOPULL;
  GPIO_InitStruct.Speed = GPIO_SPEED_FREQ_VERY_HIGH;
  GPIO_InitStruct.Alternate = GPIO_AF5_SPI1;
  HAL_GPIO_Init(GPIOA, &GPIO_InitStruct);

  /*Configure GPIO pin : ARD_D3_Pin */
  GPIO_InitStruct.Pin = ARD_D3_Pin;
  GPIO_InitStruct.Mode = GPIO_MODE_IT_RISING;
  GPIO_InitStruct.Pull = GPIO_NOPULL;
  HAL_GPIO_Init(ARD_D3_GPIO_Port, &GPIO_InitStruct);

  /*Configure GPIO pin : ARD_D6_Pin */
  GPIO_InitStruct.Pin = ARD_D6_Pin;
  GPIO_InitStruct.Mode = GPIO_MODE_ANALOG_ADC_CONTROL;
  GPIO_InitStruct.Pull = GPIO_NOPULL;
  HAL_GPIO_Init(ARD_D6_GPIO_Port, &GPIO_InitStruct);

  /*Configure GPIO pins : ARD_D8_Pin ISM43362_BOOT0_Pin ISM43362_WAKEUP_Pin LED2_Pin
                           SPSGRF_915_SDN_Pin ARD_D5_Pin SPSGRF_915_SPI3_CSN_Pin */
  GPIO_InitStruct.Pin = ARD_D8_Pin|ISM43362_BOOT0_Pin|ISM43362_WAKEUP_Pin|LED2_Pin
                          |SPSGRF_915_SDN_Pin|ARD_D5_Pin|SPSGRF_915_SPI3_CSN_Pin;
  GPIO_InitStruct.Mode = GPIO_MODE_OUTPUT_PP;
  GPIO_InitStruct.Pull = GPIO_NOPULL;
  GPIO_InitStruct.Speed = GPIO_SPEED_FREQ_LOW;
  HAL_GPIO_Init(GPIOB, &GPIO_InitStruct);

  /*Configure GPIO pins : LPS22HB_INT_DRDY_EXTI0_Pin LSM6DSL_INT1_EXTI11_Pin ARD_D2_Pin PD15
                           PMOD_IRQ_EXTI12_Pin */
  GPIO_InitStruct.Pin = LPS22HB_INT_DRDY_EXTI0_Pin|LSM6DSL_INT1_EXTI11_Pin|ARD_D2_Pin|GPIO_PIN_15
                          |PMOD_IRQ_EXTI12_Pin;
  GPIO_InitStruct.Mode = GPIO_MODE_IT_RISING;
  GPIO_InitStruct.Pull = GPIO_NOPULL;
  HAL_GPIO_Init(GPIOD, &GPIO_InitStruct);

  /*Configure GPIO pins : USB_OTG_FS_PWR_EN_Pin SPBTLE_RF_SPI3_CSN_Pin PMOD_RESET_Pin STSAFE_A100_RESET_Pin */
  GPIO_InitStruct.Pin = USB_OTG_FS_PWR_EN_Pin|SPBTLE_RF_SPI3_CSN_Pin|PMOD_RESET_Pin|STSAFE_A100_RESET_Pin;
  GPIO_InitStruct.Mode = GPIO_MODE_OUTPUT_PP;
  GPIO_InitStruct.Pull = GPIO_NOPULL;
  GPIO_InitStruct.Speed = GPIO_SPEED_FREQ_LOW;
  HAL_GPIO_Init(GPIOD, &GPIO_InitStruct);

  /*Configure GPIO pins : VL53L0X_XSHUT_Pin LED3_WIFI__LED4_BLE_Pin */
  GPIO_InitStruct.Pin = VL53L0X_XSHUT_Pin|LED3_WIFI__LED4_BLE_Pin;
  GPIO_InitStruct.Mode = GPIO_MODE_OUTPUT_PP;
  GPIO_InitStruct.Pull = GPIO_NOPULL;
  GPIO_InitStruct.Speed = GPIO_SPEED_FREQ_LOW;
  HAL_GPIO_Init(GPIOC, &GPIO_InitStruct);

  /*Configure GPIO pins : VL53L0X_GPIO1_EXTI7_Pin LSM3MDL_DRDY_EXTI8_Pin */
  GPIO_InitStruct.Pin = VL53L0X_GPIO1_EXTI7_Pin|LSM3MDL_DRDY_EXTI8_Pin;
  GPIO_InitStruct.Mode = GPIO_MODE_IT_RISING;
  GPIO_InitStruct.Pull = GPIO_NOPULL;
  HAL_GPIO_Init(GPIOC, &GPIO_InitStruct);

  /*Configure GPIO pin : PMOD_SPI2_SCK_Pin */
  GPIO_InitStruct.Pin = PMOD_SPI2_SCK_Pin;
  GPIO_InitStruct.Mode = GPIO_MODE_AF_PP;
  GPIO_InitStruct.Pull = GPIO_NOPULL;
  GPIO_InitStruct.Speed = GPIO_SPEED_FREQ_VERY_HIGH;
  GPIO_InitStruct.Alternate = GPIO_AF5_SPI2;
  HAL_GPIO_Init(PMOD_SPI2_SCK_GPIO_Port, &GPIO_InitStruct);

  /*Configure GPIO pins : PMOD_UART2_CTS_Pin PMOD_UART2_RTS_Pin PMOD_UART2_TX_Pin PMOD_UART2_RX_Pin */
  GPIO_InitStruct.Pin = PMOD_UART2_CTS_Pin|PMOD_UART2_RTS_Pin|PMOD_UART2_TX_Pin|PMOD_UART2_RX_Pin;
  GPIO_InitStruct.Mode = GPIO_MODE_AF_PP;
  GPIO_InitStruct.Pull = GPIO_NOPULL;
  GPIO_InitStruct.Speed = GPIO_SPEED_FREQ_VERY_HIGH;
  GPIO_InitStruct.Alternate = GPIO_AF7_USART2;
  HAL_GPIO_Init(GPIOD, &GPIO_InitStruct);

  /*Configure GPIO pins : ARD_D15_Pin ARD_D14_Pin */
  GPIO_InitStruct.Pin = ARD_D15_Pin|ARD_D14_Pin;
  GPIO_InitStruct.Mode = GPIO_MODE_AF_OD;
  GPIO_InitStruct.Pull = GPIO_NOPULL;
  GPIO_InitStruct.Speed = GPIO_SPEED_FREQ_VERY_HIGH;
  GPIO_InitStruct.Alternate = GPIO_AF4_I2C1;
  HAL_GPIO_Init(GPIOB, &GPIO_InitStruct);

  /* EXTI interrupt init*/
  HAL_NVIC_SetPriority(EXTI15_10_IRQn, 6, 0);
  HAL_NVIC_EnableIRQ(EXTI15_10_IRQn);

}

/* USER CODE BEGIN 4 */
void HAL_I2C_MemRxCpltCallback(I2C_HandleTypeDef *hi2c) {
    if (hi2c->Instance == I2C2) {
        // Wecke den Sensor-Task aus der ISR auf!
    	OS_Sem_ReleaseFromISR(&SensorSemaphore);
    }
}

void HAL_I2C_MemTxCpltCallback(I2C_HandleTypeDef *hi2c) {
    if (hi2c->Instance == I2C2) {
    	OS_Sem_ReleaseFromISR(&SensorSemaphore);
    }
}

void HAL_I2C_ErrorCallback(I2C_HandleTypeDef *hi2c) {
    if (hi2c->Instance == I2C2) {
    	OS_Sem_ReleaseFromISR(&SensorSemaphore);
    }
}
/* USER CODE END 4 */

void Error_Handler(void)
{
  __disable_irq();
  while (1)
  {
  }
}
